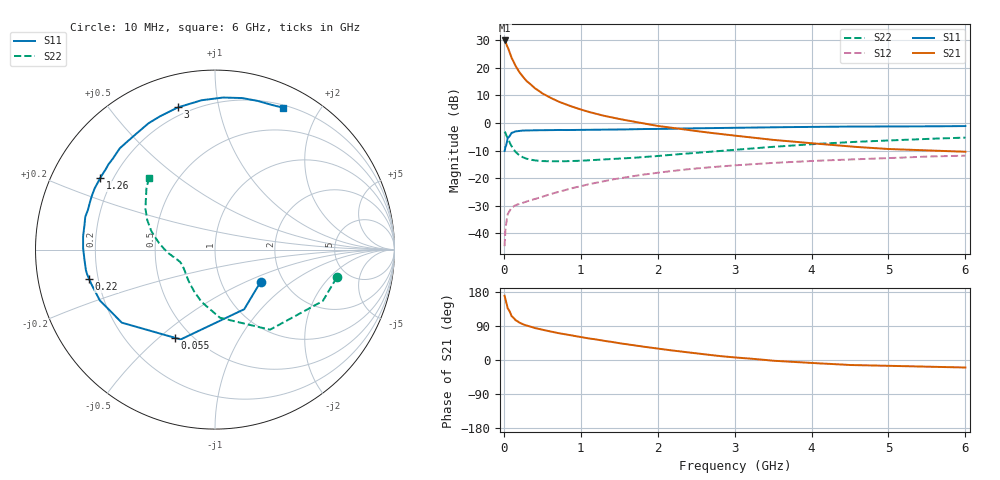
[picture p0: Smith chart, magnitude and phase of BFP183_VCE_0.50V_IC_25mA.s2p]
! Infineon Technologies  Discrete & RF Semiconductors
! BFP183
! VCE = 0.50V,  IC =  25 mA
! Common Emitter S-Parameters:  Jan 2016
# GHz  S  MA  R  50
!  f  S11  S21  S12  S22
! GHz  MAG  ANG  MAG  ANG  MAG  ANG  MAG  ANG
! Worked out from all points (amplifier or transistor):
!   210 points, 10 MHz to 6 GHz, reference 50 ohm
!   highest |S21| = 29.8 dB at 10 MHz (marker M1)
!   |S21| within 3 dB of that: start of sweep to 58.12 MHz
!   unconditionally stable (mu >= 1): start of sweep to 13.76 MHz; 264.7 MHz to end of sweep
!   at 185 MHz: K = 0.78, MSG = 24.3 dB, |S12| = -29.4 dB
!   at 1.52 GHz: K = 1.85, MAG = 5.3 dB, |S12| = -20.0 dB
!   at 6 GHz: K = 1.50, MAG = -3.5 dB, |S12| = -11.8 dB
!   S11 on the Smith chart (normalised r, x): 10 MHz: 1.54, -0.61; 55 MHz: 0.41, -0.56; 220 MHz: 0.16, -0.11; 1.26 GHz: 0.15, +0.28; 3 GHz: 0.16, +0.76; 6 GHz: 0.23, +1.56
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0.01  0.3113 -35.2  30.92 169.6  0.0059 73.5  0.6958 -12.9
0.02  0.37 -63.9  29.62 159.9  0.0114 70.3  0.6653 -25.5
0.05  0.5357 -110.9  23.38 136.4  0.0223 51.6  0.5414 -55.5
0.055  0.5397 -114.5  22.46 135.1  0.0229 49.8  0.5205 -57.6
0.1  0.6597 -141.9  15.09 115.9  0.0293 37.7  0.3808 -85.8
0.15  0.7014 -156.2  10.83 105.4  0.0324 33.8  0.3015 -104.3
0.2  0.7158 -164.6  8.331 98.9  0.0342 33.8  0.2607 -116.4
0.22  0.7201 -166.9  7.679 97.2  0.0349 34.0  0.2509 -119.8
0.26  0.7284 -171.1  6.501 93.4  0.0363 34.6  0.235 -126.7
0.3  0.729 -174.5  5.644 90.4  0.0381 36.2  0.2241 -132.4
0.4  0.7349 179.3  4.266 84.5  0.0418 39.8  0.21 -141.3
0.5  0.7386 174.2  3.414 79.8  0.0461 42.3  0.2039 -147.2
0.7  0.7455 165.8  2.458 71.3  0.056 46.6  0.2021 -155.0
1.02  0.7497 155.4  1.711 59.9  0.0727 49.2  0.2073 -161.1
1.26  0.7535 148.1  1.39 52.1  0.0859 49.2  0.2164 -164.7
1.5  0.7601 141.4  1.176 44.2  0.0994 48.3  0.2255 -167.8
2.02  0.7765 127.2  0.874 29.6  0.1265 43.9  0.253 -174.0
3  0.8189 104.5  0.589 6.8  0.1706 33.1  0.326 170.9
3.1  0.8204 102.6  0.569 5.3  0.1742 31.9  0.3342 169.4
4.1  0.8493 85.5  0.417 -8.9  0.2076 21.1  0.4192 154.9
5.1  0.8619 73.1  0.333 -15.7  0.2334 11.9  0.4866 142.0
6  0.8761 64.5  0.301 -19.8  0.2556 2.7  0.5416 132.7
